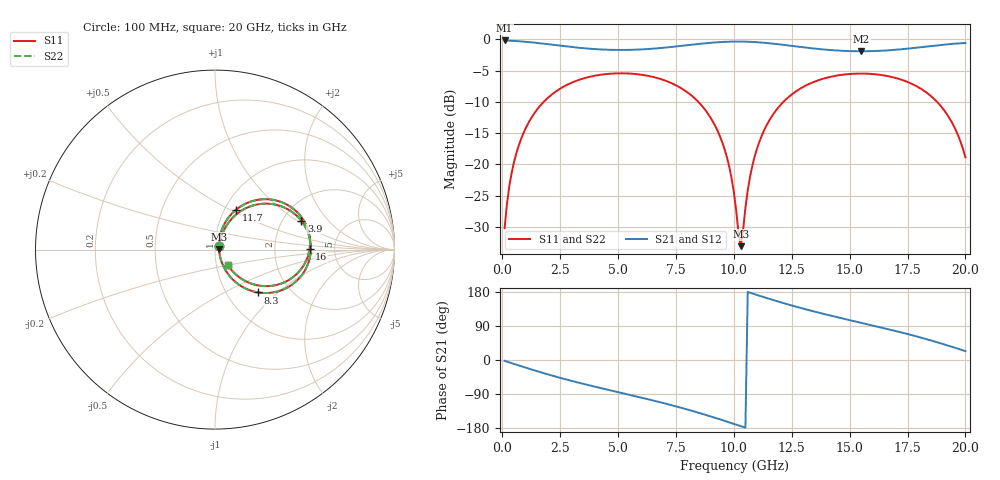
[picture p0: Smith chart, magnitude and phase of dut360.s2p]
! Touchstone file exported from HFSS 2026.1.0
!  File:  C:/ffzhzh/LocalFiles/Ansys_Project_Files/temp_train_TSV_RDL_360_1783038439_53980.aedt
!  Generated:  08:47:26 AM Jul  3, 2026
!  Design:  TSV_RDL
!  Project:  temp_train_TSV_RDL_360_1783038439_53980
! Variables:
!  h_bsmrdl = 5.36um
!  h_ox = 20um
!  h_rdl = 5um
!  h_sub = 72.51um
!  h_tmrdl = 2.79um
!  h_tsv = 72.51um
!  h_via = 3um
!  l_bsmrdl = 648.84um
!  l_sub = 5834.96um
!  l_tmrdl = 831.4um
!  m_sub = 200um
!  pitch = 58.64um
!  r_tsv = 11.06um
!  s_tmrdl = 10um
!  w_bsmrdl = 29.53um
!  w_sub = 500um
!  w_tmrdl = 24.75um
!  x_tsv_center1 = 843.775um
!  x_tsv_center2 = 1522.145um
!  x_tsv_center3 = 2378.295um
!  x_tsv_center4 = 3056.665um
!  x_tsv_center5 = 3912.815um
!  x_tsv_center6 = 4591.185um
# GHz S MA R 50.000000
! Terminal data exported
! Port[1] = TM_RDL1_1_T1
! Port[2] = TM_RDL5_1_T1
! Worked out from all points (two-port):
!   200 points, 100 MHz to 20 GHz, reference 50 ohm
!   highest |S21| = -0.20 dB at 100 MHz (marker M1); lowest = -1.9 dB at 15.5 GHz (marker M2)
!   |S21| within 3 dB of the highest: start of sweep to end of sweep
!   lowest |S11| = -33.0 dB at 10.3 GHz (marker M3), VSWR 1.05, Z = 52.3 + j0.265 ohm
!   |S11| at or under -10 dB: start of sweep to 1.79 GHz; 8.463 GHz to 12.14 GHz (3.681 GHz wide, 35.7 % of centre); 18.77 GHz to end of sweep
!   |S22| runs from -33.1 to -5.4 dB; largest |S21 - S12| = 1.6e-14
!   S11 on the Smith chart (normalised r, x): 100 MHz: 1.05, +0.04; 3.9 GHz: 2.51, +1.09; 8.3 GHz: 1.40, -0.75; 11.7 GHz: 1.13, +0.54; 16 GHz: 3.23, +0.04; 20 GHz: 1.14, -0.20
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0.1  0.03099 41.5  0.9773 -2.1  0.9773 -2.1  0.03099 41.5
! Gamma 0 0 0 0
! Port Impedance 50 0 50 0
0.3  0.06646 62.0  0.9735 -6.2  0.9735 -6.2  0.06646 62.0
0.5  0.1033 65.1  0.969 -10.2  0.969 -10.2  0.1033 65.1
1.1  0.2097 60.5  0.9504 -22.0  0.9504 -22.0  0.2097 60.5
2.1  0.3572 45.4  0.9064 -40.3  0.9064 -40.3  0.3572 45.4
3.5  0.4859 24.2  0.8479 -63.0  0.8479 -63.0  0.4858 24.2
3.9  0.507 18.5  0.8363 -69.0  0.8363 -69.0  0.507 18.5
5.4  0.533 -2.1  0.8215 -90.6  0.8215 -90.6  0.533 -2.1
6.8  0.4833 -21.8  0.8492 -111.2  0.8492 -111.2  0.4833 -21.8
8.3  0.3384 -44.9  0.9093 -136.0  0.9093 -136.0  0.3384 -44.9
9.5  0.1501 -62.1  0.9505 -158.6  0.9505 -158.6  0.15 -62.1
9.8  0.09607 -63.1  0.9556 -164.5  0.9556 -164.5  0.09602 -63.1
10.1  0.04314 -51.3  0.9578 -170.5  0.9578 -170.5  0.0431 -51.3
10.3  0.02226 6.5  0.9575 -174.5  0.9575 -174.5  0.02224 6.7
10.8  0.09784 71.0  0.951 175.5  0.951 175.5  0.09787 71.0
11.7  0.2514 62.1  0.9213 158.2  0.9213 158.2  0.2514 62.2
13.4  0.4518 36.2  0.8452 129.0  0.8452 129.0  0.4518 36.2
15.5  0.5317 7.1  0.801 98.2  0.801 98.2  0.5317 7.1
16  0.527 0.4  0.8036 91.0  0.8036 91.0  0.527 0.4
16.7  0.5051 -9.1  0.8158 80.8  0.8158 80.8  0.5051 -9.1
18.8  0.3126 -39.7  0.8945 46.5  0.8945 46.5  0.3127 -39.7
20  0.1143 -50.4  0.9319 23.4  0.9319 23.4  0.1143 -50.4
